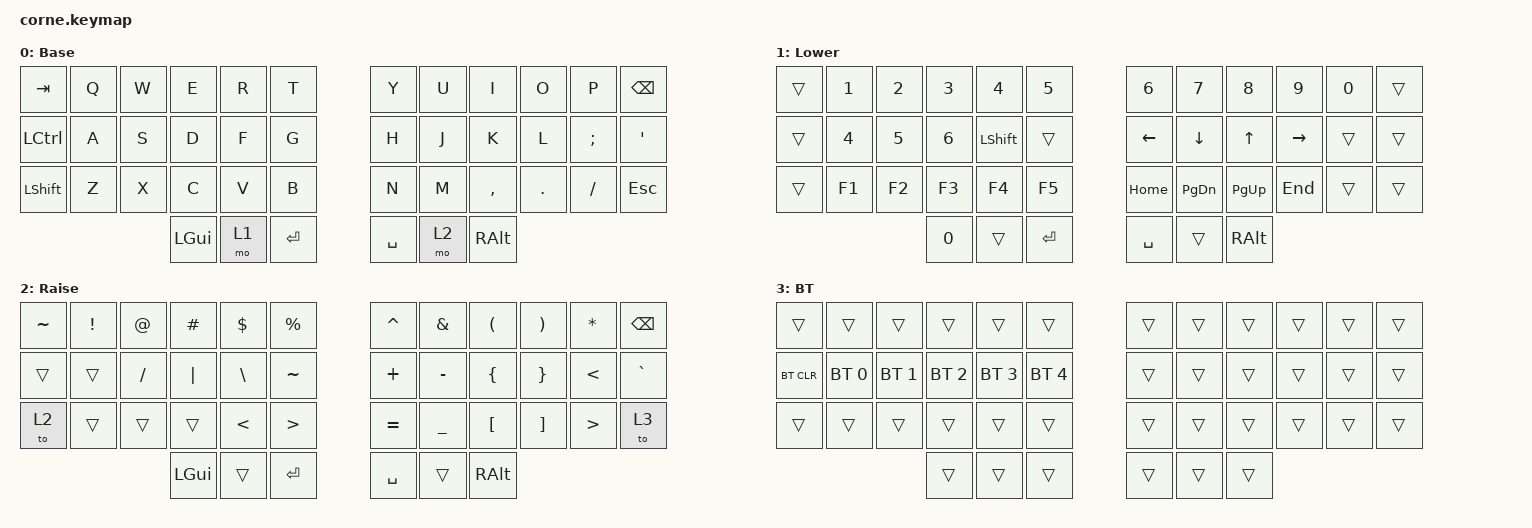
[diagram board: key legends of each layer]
/*
 * Copyright (c) 2020 The ZMK Contributors
 *
 * SPDX-License-Identifier: MIT
 */

#include <behaviors.dtsi>
#include <dt-bindings/zmk/bt.h>
#include <dt-bindings/zmk/keys.h>

/ {
    macros {
        shift: with_lshift {
            compatible = "zmk,behavior-macro-one-param";
            #binding-cells = <1>;
            bindings =
                <&macro_press>,
                <&kp LSHFT>,
                <&macro_tap>,
                <&macro_param_1to1 &kp MACRO_PLACEHOLDER>,
                <&macro_release>,
                <&kp LSHFT>;

            label = "KEY_PRESS_WITH_LEFT_SHIFT_MODIFIER";
        };
    };

    behaviors {
        hml: homewrow_mods_left {
            compatible = "zmk,behavior-hold-tap";
            label = "HOMEROW_MODS_LEFT_HAND";
            bindings = <&kp>, <&kp>;

            #binding-cells = <2>;
            tapping-term-ms = <600>;
            hold-trigger-key-positions = <39 40 30 18 6 7 19 31 41 32 20 8 9 21 33 34 22 10 11 23 35>;
        };

        hmr: homerow_mods_right {
            compatible = "zmk,behavior-hold-tap";
            label = "HOMEROW_MODS_RIGHT_HAND";
            bindings = <&kp>, <&kp>;

            #binding-cells = <2>;
            tapping-term-ms = <600>;
            hold-trigger-key-positions = <0 12 24 25 13 1 2 14 26 27 15 3 4 16 28 36 37 38 29 17 5>;
        };

        as_ht: autoshift_hold_tap {
            compatible = "zmk,behavior-hold-tap";
            label = "AUTOSHIFT_HOLD_TAP";
            bindings = <&shift>, <&kp>;

            #binding-cells = <2>;
            tapping-term-ms = <190>;
        };
    };

    combos {
        compatible = "zmk,combos";

        shift_lower {
            bindings = <&tog 1>;
            key-positions = <37 24>;
        };

        shift_raise {
            bindings = <&tog 2>;
            key-positions = <24 40>;
        };
    };

    keymap {
        compatible = "zmk,keymap";

        default_layer {
            // -----------------------------------------------------------------------------------------
            // |  TAB |  Q  |  W  |  E  |  R  |  T  |   |  Y  |  U   |  I  |  O  |  P  | BKSP |
            // | CTRL |  A  |  S  |  D  |  F  |  G  |   |  H  |  J   |  K  |  L  |  ;  |  '   |
            // | SHFT |  Z  |  X  |  C  |  V  |  B  |   |  N  |  M   |  ,  |  .  |  /  | ESC  |
            //                    | GUI | LWR | SPC |   | ENT | RSE  | ALT |

            display-name = "Base";
            bindings = <
&kp TAB    &kp Q  &kp W  &kp E     &kp R  &kp T      &kp Y      &kp U  &kp I      &kp O    &kp P     &kp BSPC
&kp LCTRL  &kp A  &kp S  &kp D     &kp F  &kp G      &kp H      &kp J  &kp K      &kp L    &kp SEMI  &kp APOS
&kp LSHFT  &kp Z  &kp X  &kp C     &kp V  &kp B      &kp N      &kp M  &kp COMMA  &kp DOT  &kp FSLH  &kp ESC
                         &kp LGUI  &mo 1  &kp RET    &kp SPACE  &mo 2  &kp RALT
            >;
        };

        lower_layer {
            // -----------------------------------------------------------------------------------------
            // |  TAB |  1  |  2  |  3  |  4  |  5  |   |  6  |  7  |  8  |  9  |  0  | BKSP |
            // | BTCLR| BT1 | BT2 | BT3 | BT4 | BT5 |   | LFT | DWN |  UP | RGT |     |      |
            // | SHFT |     |     |     |     |     |   |     |     |     |     |     |      |
            //                    | GUI |     | SPC |   | ENT |     | ALT |

            display-name = "Lower";
            bindings = <
&trans  &kp N1        &kp N2        &kp N3        &kp N4     &kp N5     &kp N6          &kp N7          &kp N8        &kp N9           &kp N0  &trans
&trans  &kp NUMBER_4  &kp NUMBER_5  &kp NUMBER_6  &kp LSHFT  &trans     &kp LEFT_ARROW  &kp DOWN_ARROW  &kp UP_ARROW  &kp RIGHT_ARROW  &trans  &trans
&trans  &kp F1        &kp F2        &kp F3        &kp F4     &kp F5     &kp HOME        &kp PAGE_DOWN   &kp PAGE_UP   &kp END          &trans  &trans
                                    &kp NUMBER_0  &trans     &kp RET    &kp SPACE       &trans          &kp RALT
            >;
        };

        raise_layer {
            // -----------------------------------------------------------------------------------------
            // |  TAB |  !  |  @  |  #  |  $  |  %  |   |  ^  |  &  |  *  |  (  |  )  | BKSP |
            // | CTRL |     |     |     |     |     |   |  -  |  =  |  [  |  ]  |  \  |  `   |
            // | SHFT |     |     |     |     |     |   |  _  |  +  |  {  |  }  | "|" |  ~   |
            //                    | GUI |     | SPC |   | ENT |     | ALT |

            display-name = "Raise";
            bindings = <
&kp TILDE  &kp EXCL  &kp AT     &kp HASH  &kp DLLR       &kp PRCNT           &kp CARET  &kp AMPS   &kp LPAR  &kp RPAR  &kp STAR          &kp BSPC
&trans     &trans    &kp SLASH  &kp PIPE  &kp BSLH       &kp TILDE           &kp PLUS   &kp MINUS  &kp LBRC  &kp RBRC  &kp LESS_THAN     &kp GRAVE
&to 2      &trans    &trans     &trans    &kp LESS_THAN  &kp GREATER_THAN    &kp EQUAL  &kp UNDER  &kp LBKT  &kp RBKT  &kp GREATER_THAN  &to 3
                                &kp LGUI  &trans         &kp RET             &kp SPACE  &trans     &kp RALT
            >;
        };

        bt_layer {
            bindings = <
&trans      &trans        &trans        &trans        &trans        &trans          &trans  &trans  &trans  &trans  &trans  &trans
&bt BT_CLR  &bt BT_SEL 0  &bt BT_SEL 1  &bt BT_SEL 2  &bt BT_SEL 3  &bt BT_SEL 4    &trans  &trans  &trans  &trans  &trans  &trans
&trans      &trans        &trans        &trans        &trans        &trans          &trans  &trans  &trans  &trans  &trans  &trans
                                        &trans        &trans        &trans          &trans  &trans  &trans
            >;

            label = "BT";
        };
    };
};
